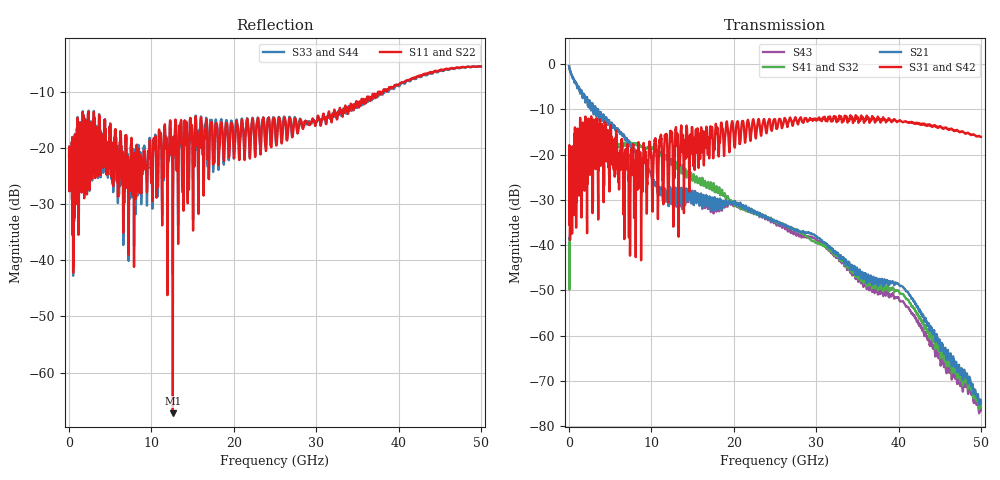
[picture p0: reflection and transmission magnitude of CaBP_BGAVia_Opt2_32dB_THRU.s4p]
!* Samtec Inc. NovaRay Examax Flyover System  *
!*  REV DATE  = 08/08/18  *
!*  TYPE  = TOUCHSTONE  *
!*  PORTS  = 4 port  *
!*  UNITS  = GHz  *
!*  DATA RANGE = DC  to 50 GHz; 10 MHz Step  *
!*  PARAMETER  = S  *
!*  FORMAT  = Real-Imaginary  *
!*  REFERENCE  = 50 ohms  *
!*  SOURCE  = HFSS  *
!*  VALIDATED  = No  *
!*  MANUFACTURER = SAMTEC  *
!*  INTERCONNECT = NVAx to EBCx to EBCx to NVAx  *
!*  [Full Channel NVAx to EBCx to EBCx to NVAx  with PCB Trace and BGA Via]  *
!*  BOUNDARY A  = Silicon BGA Ball Pad  *
!*  BOUNDARY B  = Silicon BGA Ball Pad  *
!*  NVAx (end a) ->>- (end b) NVAx  *
!*  Port 01 ->>- Port 02  *
!*  Port 03 ->>- Port 04  *
!***************************** CHANNEL MODEL ******************************************
# GHz S RI R 50
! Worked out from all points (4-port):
!   5000 points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, 10 MHz to 50 GHz, reference 50 ohm
!   strongest paths, dB at 10 MHz, 12.51 GHz, 25.01 GHz, 37.51 GHz, 50 GHz:
!     S31: -23.1, -15.2, -12.2, -11.7, -16.1
!     S42: -23.1, -15.2, -12.2, -11.7, -16.1
!     S21: -0.5, -28.4, -34.7, -49.0, -75.0
!     S41: -40.9, -22.0, -34.7, -50.0, -75.8
!     S32: -40.9, -22.0, -34.7, -50.0, -75.8
!     S43: -0.5, -28.6, -35.0, -50.9, -76.5
!   lowest |S11| = -67.2 dB at 12.6 GHz (marker M1), VSWR 1.00, Z = 50 + j0.0147 ohm
!   |S11| at or under -10 dB: start of sweep to 37.74 GHz; 37.74 GHz to 38.13 GHz (385.5 MHz wide, 1.02 % of centre); 38.51568 GHz to 38.54961 GHz (33.93 MHz wide, 0.0881 % of centre)
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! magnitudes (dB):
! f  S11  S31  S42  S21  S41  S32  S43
! 10 MHz  -21.6  -23.1  -23.1  -0.5  -40.9  -40.9  -0.5
! 530 MHz  -26.7  -26.2  -26.2  -3.2  -24.0  -24.0  -3.2
! 1.74 GHz  -14.2  -13.1  -13.1  -7.5  -18.2  -18.2  -7.5
! 7.44 GHz  -25.0  -31.5  -31.5  -17.9  -17.2  -17.2  -17.8
! 12.6 GHz  -67.2  -21.8  -21.8  -27.8  -22.4  -22.4  -27.8
! 40.49 GHz  -8.4  -12.9  -12.9  -49.1  -50.8  -50.8  -52.4
! 50 GHz  -5.5  -16.1  -16.1  -75.0  -75.8  -75.8  -76.5
